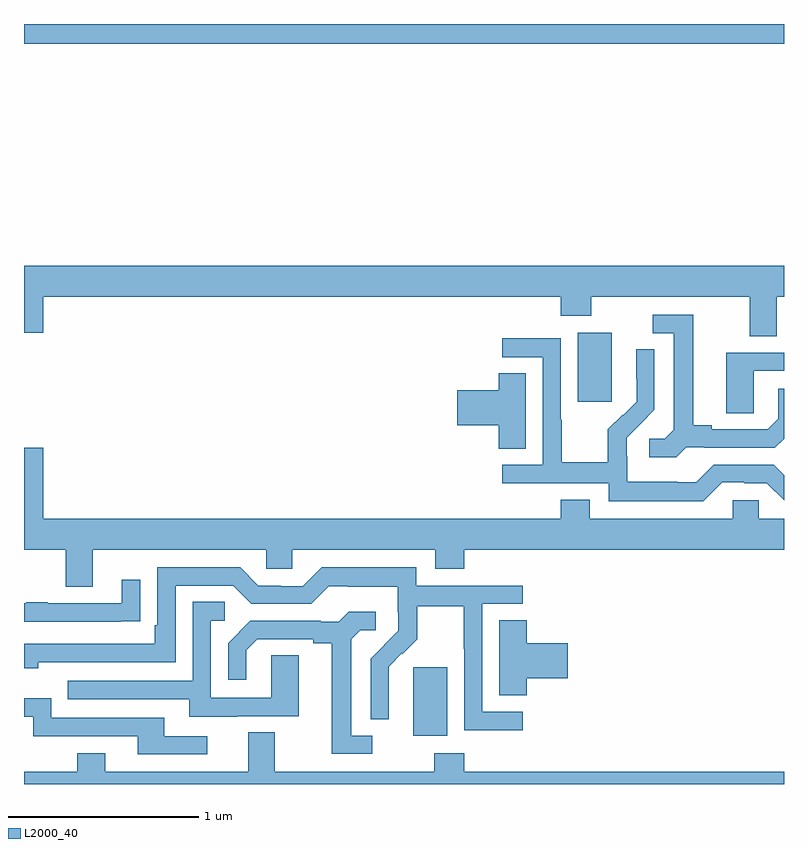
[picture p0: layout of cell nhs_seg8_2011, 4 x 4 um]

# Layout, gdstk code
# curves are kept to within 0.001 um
import gdstk
lib = gdstk.Library(unit=1e-6, precision=1e-09)
def R(c, l, rs):  # rectangles x0, y0, x1, y1
    for r in rs: c.add(gdstk.rectangle(r[:2], r[2:], *l))
def P(c, l, *ps):  # polygons
    for p in ps: c.add(gdstk.Polygon(p, *l))
L2000_40 = (2000, 40)

nhs_seg8_2011 = lib.new_cell('nhs_seg8_2011')
R(nhs_seg8_2011, L2000_40, [(239.048,1150.154,239.227,1150.515), (239.915,1151.913,240.094,1152.274), (237,1153.796,241,1153.9)])
P(nhs_seg8_2011, L2000_40, [(240.961,1152.464),(241,1152.464),(241,1152.628),(237,1152.628),(237,1152.276),(237.1,1152.276),(237.1,1152.464),(239.825,1152.464),(239.825,1152.365),(239.985,1152.365),(239.985,1152.464),(240.821,1152.464),(240.821,1152.256),(240.961,1152.256)],
  [(240.486,1151.673),(240.58,1151.673),(240.58,1151.67),(240.952,1151.67),(241,1151.718),(241,1151.98),(240.971,1151.98),(240.971,1151.823),(240.914,1151.766),(240.619,1151.766),(240.619,1151.789),(240.523,1151.789),(240.523,1152.369),(240.309,1152.369),(240.309,1152.273),(240.419,1152.273),(240.419,1151.765),(240.372,1151.718),(240.291,1151.718),(240.291,1151.621),(240.434,1151.621)],
  [(240.675,1151.487),(240.791,1151.487),(240.791,1151.484),(240.909,1151.484),(241,1151.393),(241,1151.525),(240.945,1151.58),(240.63,1151.58),(240.537,1151.487),(240.437,1151.487),(240.437,1151.491),(240.174,1151.491),(240.174,1151.625),(240.172,1151.625),(240.172,1151.722),(240.318,1151.87),(240.318,1152.188),(240.222,1152.188),(240.222,1152.034),(240.224,1152.034),(240.224,1151.912),(240.153,1151.841),(240.15,1151.844),(240.073,1151.767),(240.073,1151.593),(239.829,1151.593),(239.829,1151.816),(239.826,1151.816),(239.826,1152.246),(239.517,1152.246),(239.517,1152.147),(239.73,1152.147),(239.73,1151.58),(239.517,1151.58),(239.517,1151.484),(240.078,1151.484),(240.078,1151.387),(240.575,1151.387)],
  [(240.84,1152.075),(241,1152.075),(241,1152.171),(240.695,1152.171),(240.695,1151.851),(240.84,1151.851)],
  [(239.641,1152.062),(239.498,1152.062),(239.498,1151.972),(239.28,1151.972),(239.28,1151.789),(239.498,1151.789),(239.498,1151.665),(239.641,1151.665)],
  [(237.361,1151.132),(238.275,1151.132),(238.275,1151.034),(238.413,1151.034),(238.413,1151.132),(239.165,1151.132),(239.165,1151.033),(239.318,1151.033),(239.318,1151.132),(241,1151.132),(241,1151.296),(240.867,1151.296),(240.867,1151.394),(240.729,1151.394),(240.729,1151.296),(239.977,1151.296),(239.977,1151.395),(239.825,1151.395),(239.825,1151.296),(237.1,1151.296),(237.1,1151.671),(237,1151.671),(237,1151.132),(237.221,1151.132),(237.221,1150.938),(237.361,1150.938)],
  [(239.626,1150.281),(239.412,1150.281),(239.412,1150.848),(239.626,1150.848),(239.626,1150.944),(239.064,1150.944),(239.064,1151.041),(238.567,1151.041),(238.467,1150.941),(238.352,1150.941),(238.352,1150.944),(238.233,1150.944),(238.137,1151.04),(237.702,1151.04),(237.702,1150.735),(237.689,1150.735),(237.689,1150.638),(237,1150.638),(237,1150.508),(237.074,1150.508),(237.074,1150.542),(237.798,1150.542),(237.798,1150.944),(238.101,1150.944),(238.197,1150.848),(238.512,1150.848),(238.605,1150.941),(238.705,1150.941),(238.705,1150.937),(238.968,1150.937),(238.968,1150.803),(238.97,1150.803),(238.97,1150.706),(238.824,1150.558),(238.824,1150.24),(238.92,1150.24),(238.919,1150.517),(238.989,1150.587),(238.992,1150.584),(239.069,1150.661),(239.069,1150.836),(239.314,1150.836),(239.314,1150.612),(239.316,1150.612),(239.316,1150.183),(239.626,1150.183)],
  [(237.509,1150.756),(237.611,1150.756),(237.611,1150.975),(237.515,1150.975),(237.515,1150.851),(237.125,1150.851),(237.125,1150.856),(237.013,1150.856),(237.013,1150.851),(237,1150.851),(237,1150.755),(237.509,1150.755)],
  [(238.123,1150.257),(238.447,1150.257),(238.447,1150.577),(238.302,1150.577),(238.302,1150.353),(237.984,1150.353),(237.984,1150.758),(238.057,1150.758),(238.057,1150.859),(237.888,1150.859),(237.888,1150.443),(237.229,1150.443),(237.229,1150.347),(237.869,1150.347),(237.869,1150.253),(238.123,1150.253)],
  [(238.834,1150.155),(238.723,1150.155),(238.723,1150.663),(238.77,1150.71),(238.852,1150.71),(238.852,1150.807),(238.708,1150.807),(238.656,1150.755),(238.562,1150.755),(238.562,1150.758),(238.19,1150.758),(238.074,1150.642),(238.074,1150.449),(238.171,1150.449),(238.171,1150.605),(238.228,1150.662),(238.523,1150.662),(238.523,1150.64),(238.619,1150.64),(238.619,1150.059),(238.834,1150.059)],
  [(239.645,1150.457),(239.863,1150.457),(239.863,1150.64),(239.645,1150.64),(239.645,1150.763),(239.501,1150.763),(239.501,1150.366),(239.645,1150.366)],
  [(237.964,1150.152),(237.739,1150.152),(237.739,1150.248),(237.144,1150.248),(237.144,1150.351),(237,1150.351),(237,1150.254),(237.048,1150.254),(237.048,1150.152),(237.599,1150.152),(237.599,1150.056),(237.964,1150.056)],
  [(241,1149.964),(239.318,1149.964),(239.318,1150.063),(239.158,1150.063),(239.158,1149.964),(238.321,1149.964),(238.321,1150.172),(238.181,1150.172),(238.181,1149.964),(237.427,1149.964),(237.427,1150.063),(237.28,1150.063),(237.28,1149.964),(237,1149.964),(237,1149.9),(241,1149.9)])

lib.write_gds('nhs_seg8_2011.gds')
